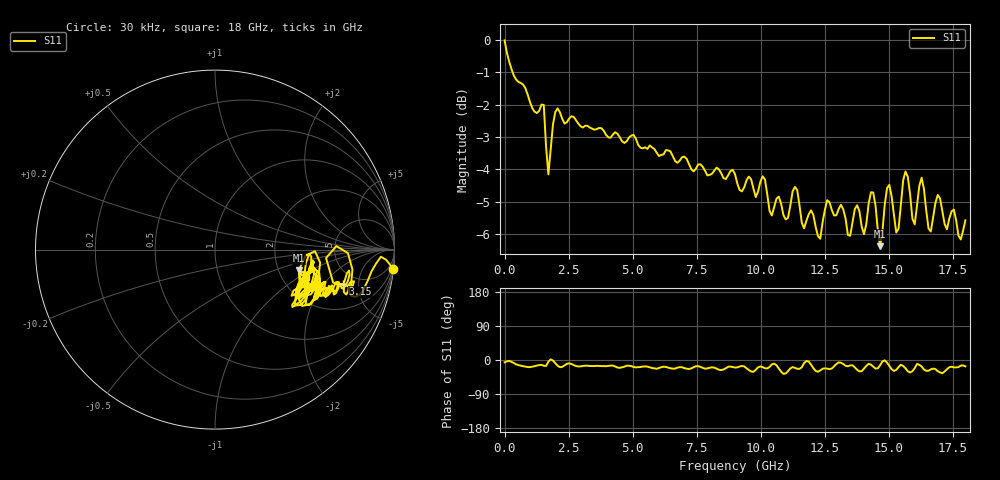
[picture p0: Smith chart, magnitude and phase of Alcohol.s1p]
!Keysight Technologies N9917A: A.12.46
!Date: Thursday, 16 November 2023 19:14:52
!TimeZone: (UTC-03:00) Buenos Aires!Model: N9917A
!Serial: MY56072049
!GPS Latitude:
!GPS Longitude:
!GPS TimeStamp: 0001-01-01 00:00:00Z
!GPS Seconds Since Last Read: 0
!CHECKSUM:1685240781
!Correction: S11(Rdy)
!S1P File: Measurement: S11:
# Hz S RI R 50
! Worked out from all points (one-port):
!   201 points, 30 kHz to 18 GHz, reference 50 ohm
!   lowest |S11| = -6.4 dB at 14.67 GHz (marker M1), VSWR 2.85, Z = 129 - j38.6 ohm
!   |S11| at or under -10 dB: nowhere
!   S11 on the Smith chart (normalised r, x): 30 kHz: 0, -19; 3.15 GHz: 3.81, -3.20; 18 GHz: 2.69, -1.13
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30000  0.9922 -0.1054
9.000285e8  0.78 -0.2637
1.620027e9  0.6585 -0.1841
1.800027e9  0.6764 0.0196
2.250026e9  0.7177 -0.2368
2.520026e9  0.747 -0.1169
3.150025e9  0.7118 -0.1918
4.500022e9  0.6616 -0.2504
6.750019e9  0.6066 -0.2229
9.000015e9  0.5832 -0.2121
9.720014e9  0.5042 -0.3056
1.053001e10  0.5447 -0.0926
1.089001e10  0.4311 -0.32
1.125001e10  0.5524 -0.1885
1.152001e10  0.5094 -0.2207
1.179001e10  0.5254 -0.0244
1.224001e10  0.4267 -0.257
1.305001e10  0.545 -0.0606
1.350001e10  0.4833 -0.1228
1.386001e10  0.4706 -0.2728
1.467001e10  0.4666 -0.1148
1.485001e10  0.5573 -0.00909
1.512e10  0.5212 -0.2374
1.548e10  0.5448 -0.1208
1.575e10  0.5345 -0.3039
1.611e10  0.5456 -0.1013
1.71e10  0.4462 -0.312
1.8e10  0.5044 -0.1518
